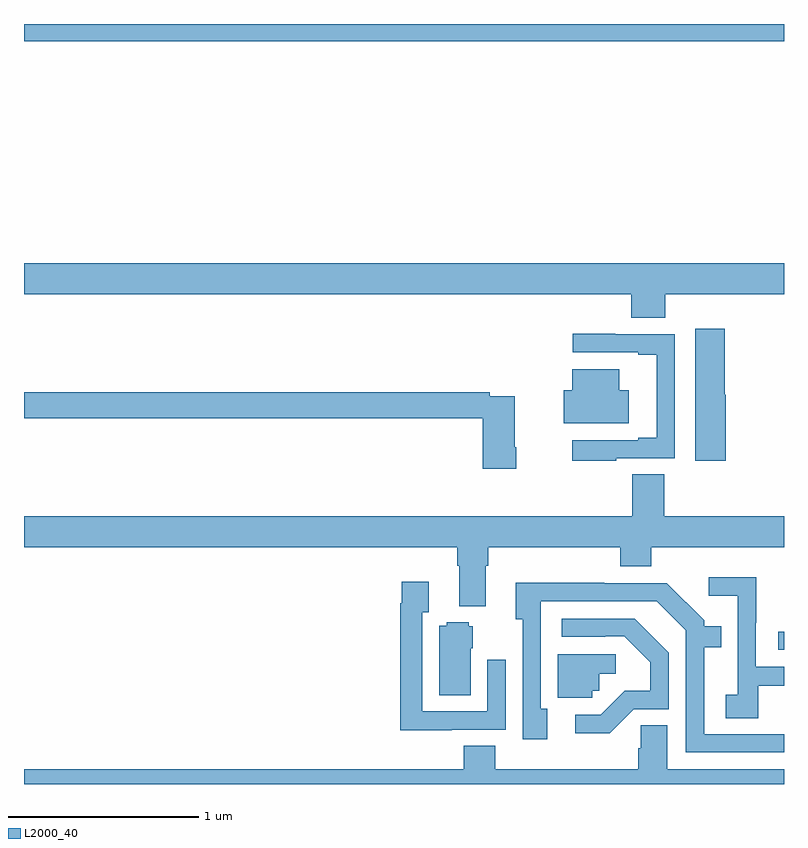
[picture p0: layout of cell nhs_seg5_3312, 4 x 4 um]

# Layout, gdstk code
import gdstk
lib = gdstk.Library(unit=1e-6, precision=1e-09)
def R(c, l, rs):  # rectangles x0, y0, x1, y1
    for r in rs: c.add(gdstk.rectangle(r[:2], r[2:], *l))
def P(c, l, *ps):  # polygons
    for p in ps: c.add(gdstk.Polygon(p, *l))
L2000_40 = (2000, 40)

nhs_seg5_3312 = lib.new_cell('nhs_seg5_3312')
R(nhs_seg5_3312, L2000_40, [(306.969,905.505,307,905.601), (303,908.708,307,908.799)])
P(nhs_seg5_3312, L2000_40, [(306.374,907.376),(307,907.376),(307,907.54),(303,907.54),(303,907.376),(306.197,907.376),(306.197,907.252),(306.374,907.252)],
  [(306.694,906.849),(306.689,906.849),(306.689,907.195),(306.533,907.195),(306.533,906.501),(306.694,906.501)],
  [(306.116,906.513),(306.426,906.513),(306.426,907.167),(306.113,907.167),(306.113,907.169),(305.889,907.169),(305.889,907.071),(306.233,907.071),(306.233,907.059),(306.329,907.059),(306.329,906.622),(306.233,906.622),(306.233,906.609),(305.886,906.609),(305.886,906.501),(306.116,906.501)],
  [(306.184,906.871),(306.133,906.871),(306.133,906.982),(305.885,906.982),(305.885,906.871),(305.84,906.871),(305.84,906.698),(306.184,906.698)],
  [(305.592,906.571),(305.584,906.571),(305.584,906.84),(305.45,906.84),(305.45,906.86),(303,906.86),(303,906.724),(305.414,906.724),(305.414,906.459),(305.592,906.459)],
  [(305.431,905.948),(305.444,905.948),(305.444,906.044),(306.137,906.044),(306.137,905.945),(306.302,905.945),(306.302,906.044),(307,906.044),(307,906.208),(306.371,906.208),(306.371,906.428),(306.2,906.428),(306.2,906.208),(303,906.208),(303,906.044),(305.279,906.044),(305.279,905.948),(305.291,905.948),(305.291,905.735),(305.431,905.735)],
  [(306.865,905.317),(307,905.317),(307,905.415),(306.852,905.415),(306.852,905.648),(306.855,905.648),(306.855,905.887),(306.603,905.887),(306.603,905.789),(306.756,905.789),(306.756,905.268),(306.693,905.268),(306.693,905.146),(306.865,905.146)],
  [(305.251,905.085),(305.535,905.085),(305.535,905.452),(305.439,905.452),(305.439,905.181),(305.097,905.181),(305.097,905.702),(305.131,905.702),(305.131,905.863),(304.989,905.863),(304.989,905.75),(304.981,905.75),(304.981,905.081),(305.251,905.081)],
  [(307,905.061),(306.58,905.061),(306.58,905.52),(306.671,905.52),(306.671,905.629),(306.579,905.629),(306.579,905.661),(306.384,905.856),(306.053,905.856),(306.053,905.858),(305.588,905.858),(305.588,905.666),(305.625,905.666),(305.625,905.034),(305.755,905.034),(305.755,905.194),(305.721,905.194),(305.721,905.76),(306.33,905.76),(306.483,905.607),(306.483,904.965),(307,904.965)],
  [(306.21,905.193),(306.393,905.193),(306.393,905.491),(306.214,905.67),(305.829,905.67),(305.829,905.574),(306.059,905.574),(306.059,905.577),(306.159,905.577),(306.296,905.44),(306.296,905.29),(306.163,905.29),(306.036,905.163),(305.901,905.163),(305.901,905.066),(306.082,905.066)],
  [(305.35,905.514),(305.362,905.514),(305.362,905.628),(305.34,905.628),(305.34,905.65),(305.226,905.65),(305.226,905.632),(305.186,905.632),(305.186,905.266),(305.35,905.266)],
  [(305.991,905.289),(306.027,905.289),(306.027,905.378),(306.115,905.378),(306.115,905.481),(305.81,905.481),(305.81,905.253),(305.991,905.253)],
  [(307,904.876),(306.385,904.876),(306.385,905.108),(306.247,905.108),(306.247,904.986),(306.233,904.986),(306.233,904.876),(305.48,904.876),(305.48,905),(305.315,905),(305.315,904.876),(303,904.876),(303,904.799),(307,904.799)])

lib.write_gds('nhs_seg5_3312.gds')
